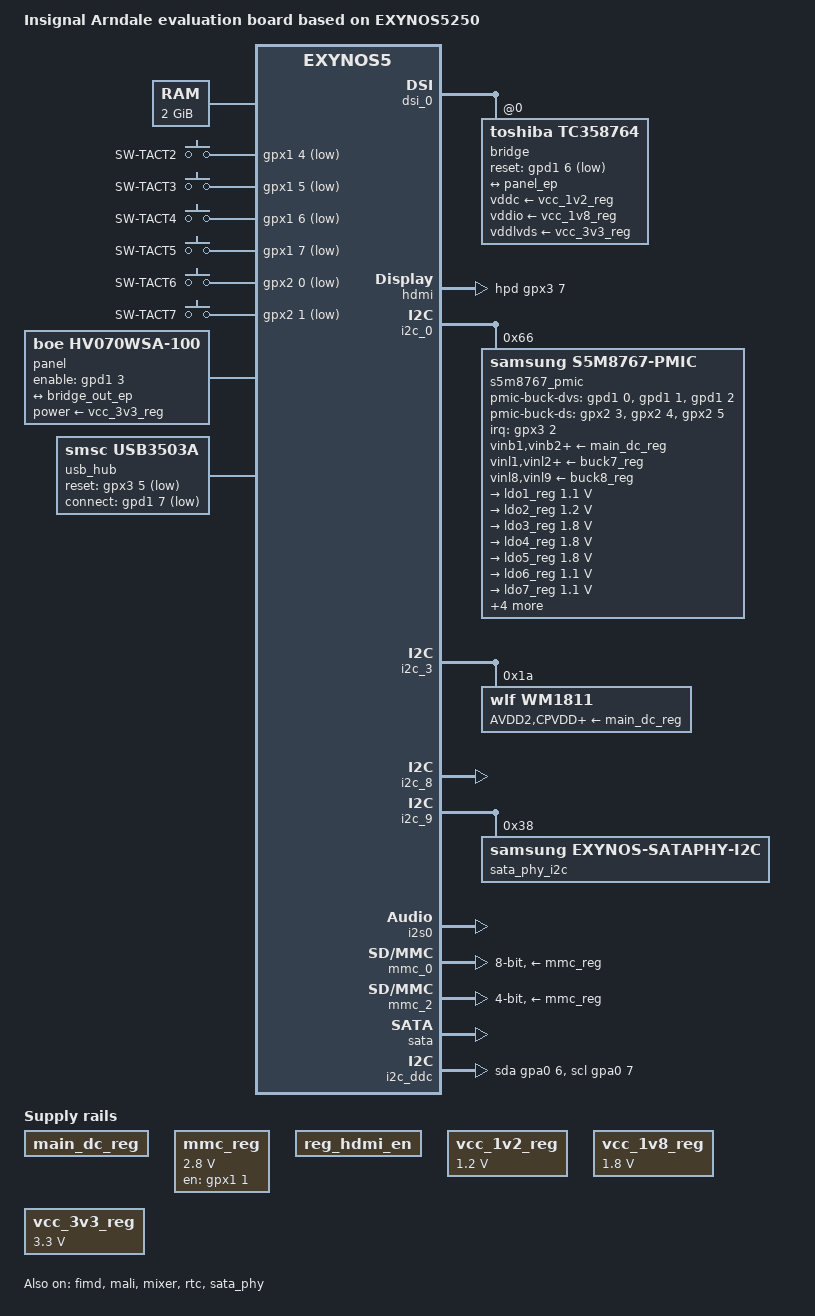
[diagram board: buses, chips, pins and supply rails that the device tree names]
// SPDX-License-Identifier: GPL-2.0
/*
 * Samsung's Exynos5250 based Arndale board device tree source
 *
 * Copyright (c) 2013 Samsung Electronics Co., Ltd.
 *		http://www.samsung.com
 */

/dts-v1/;
#include <dt-bindings/gpio/gpio.h>
#include <dt-bindings/interrupt-controller/irq.h>
#include <dt-bindings/input/input.h>
#include <dt-bindings/clock/samsung,s2mps11.h>
#include <dt-bindings/sound/samsung-i2s.h>
#include "exynos5250.dtsi"

/ {
	model = "Insignal Arndale evaluation board based on EXYNOS5250";
	compatible = "insignal,arndale", "samsung,exynos5250", "samsung,exynos5";

	memory@40000000 {
		device_type = "memory";
		reg = <0x40000000 0x80000000>;
	};

	chosen {
		stdout-path = "serial2:115200n8";
	};

	gpio_keys {
		compatible = "gpio-keys";

		menu {
			label = "SW-TACT2";
			gpios = <&gpx1 4 GPIO_ACTIVE_LOW>;
			linux,code = <KEY_MENU>;
			wakeup-source;
		};

		home {
			label = "SW-TACT3";
			gpios = <&gpx1 5 GPIO_ACTIVE_LOW>;
			linux,code = <KEY_HOME>;
			wakeup-source;
		};

		up {
			label = "SW-TACT4";
			gpios = <&gpx1 6 GPIO_ACTIVE_LOW>;
			linux,code = <KEY_UP>;
			wakeup-source;
		};

		down {
			label = "SW-TACT5";
			gpios = <&gpx1 7 GPIO_ACTIVE_LOW>;
			linux,code = <KEY_DOWN>;
			wakeup-source;
		};

		back {
			label = "SW-TACT6";
			gpios = <&gpx2 0 GPIO_ACTIVE_LOW>;
			linux,code = <KEY_BACK>;
			wakeup-source;
		};

		wakeup {
			label = "SW-TACT7";
			gpios = <&gpx2 1 GPIO_ACTIVE_LOW>;
			linux,code = <KEY_WAKEUP>;
			wakeup-source;
		};
	};

	panel: panel {
		compatible = "boe,hv070wsa-100";
		power-supply = <&vcc_3v3_reg>;
		enable-gpios = <&gpd1 3 GPIO_ACTIVE_HIGH>;
		port {
			panel_ep: endpoint {
				remote-endpoint = <&bridge_out_ep>;
			};
		};
	};

	regulators {
		compatible = "simple-bus";
		#address-cells = <1>;
		#size-cells = <0>;

		main_dc_reg: regulator@0 {
			compatible = "regulator-fixed";
			reg = <0>;
			regulator-name = "MAIN_DC";
		};

		mmc_reg: regulator@1 {
			compatible = "regulator-fixed";
			reg = <1>;
			regulator-name = "VDD_33ON_2.8V";
			regulator-min-microvolt = <2800000>;
			regulator-max-microvolt = <2800000>;
			gpio = <&gpx1 1 GPIO_ACTIVE_HIGH>;
			enable-active-high;
		};

		reg_hdmi_en: regulator@2 {
			compatible = "regulator-fixed";
			reg = <2>;
			regulator-name = "hdmi-en";
		};

		vcc_1v2_reg: regulator@3 {
			compatible = "regulator-fixed";
			reg = <3>;
			regulator-name = "VCC_1V2";
			regulator-min-microvolt = <1200000>;
			regulator-max-microvolt = <1200000>;
		};

		vcc_1v8_reg: regulator@4 {
			compatible = "regulator-fixed";
			reg = <4>;
			regulator-name = "VCC_1V8";
			regulator-min-microvolt = <1800000>;
			regulator-max-microvolt = <1800000>;
		};

		vcc_3v3_reg: regulator@5 {
			compatible = "regulator-fixed";
			reg = <5>;
			regulator-name = "VCC_3V3";
			regulator-min-microvolt = <3300000>;
			regulator-max-microvolt = <3300000>;
		};
	};

	sound {
		compatible = "samsung,arndale-wm1811";
		samsung,audio-cpu = <&i2s0>;
		samsung,audio-codec = <&wm1811>;
	};

	fixed-rate-clocks {
		xxti {
			compatible = "samsung,clock-xxti";
			clock-frequency = <24000000>;
		};
	};

	// SMSC USB3503 connected in hardware only mode as a PHY
	usb_hub: usb-hub {
		compatible = "smsc,usb3503a";

		reset-gpios = <&gpx3 5 GPIO_ACTIVE_LOW>;
		connect-gpios = <&gpd1 7 GPIO_ACTIVE_LOW>;
	};
};

&clock {
	assigned-clocks = <&clock CLK_FOUT_EPLL>;
	assigned-clock-rates = <49152000>;
};

&clock_audss {
	assigned-clocks = <&clock_audss EXYNOS_MOUT_AUDSS>;
	assigned-clock-parents = <&clock CLK_FOUT_EPLL>;
};

&cpu0 {
	cpu0-supply = <&buck2_reg>;
};

&dsi_0 {
	vddcore-supply = <&ldo8_reg>;
	vddio-supply = <&ldo10_reg>;
	samsung,pll-clock-frequency = <24000000>;
	samsung,burst-clock-frequency = <320000000>;
	samsung,esc-clock-frequency = <10000000>;
	status = "okay";

	bridge@0 {
		reg = <0>;
		compatible = "toshiba,tc358764";
		vddc-supply = <&vcc_1v2_reg>;
		vddio-supply = <&vcc_1v8_reg>;
		vddlvds-supply = <&vcc_3v3_reg>;
		reset-gpios = <&gpd1 6 GPIO_ACTIVE_LOW>;
		#address-cells = <1>;
		#size-cells = <0>;
		port@1 {
			reg = <1>;
			bridge_out_ep: endpoint {
				remote-endpoint = <&panel_ep>;
			};
		};
	};
};

&fimd {
	status = "okay";
};

&hdmi {
	pinctrl-names = "default";
	pinctrl-0 = <&hdmi_hpd>;
	status = "okay";
	ddc = <&i2c_ddc>;
	hpd-gpios = <&gpx3 7 GPIO_ACTIVE_HIGH>;
	vdd_osc-supply = <&ldo10_reg>;
	vdd_pll-supply = <&ldo8_reg>;
	vdd-supply = <&ldo8_reg>;
};

&i2c_0 {
	status = "okay";
	samsung,i2c-sda-delay = <100>;
	samsung,i2c-max-bus-freq = <20000>;
	samsung,i2c-slave-addr = <0x66>;

	s5m8767_pmic@66 {
		compatible = "samsung,s5m8767-pmic";
		reg = <0x66>;
		interrupt-parent = <&gpx3>;
		interrupts = <2 IRQ_TYPE_LEVEL_LOW>;
		pinctrl-names = "default";
		pinctrl-0 = <&s5m8767_irq>;

		vinb1-supply = <&main_dc_reg>;
		vinb2-supply = <&main_dc_reg>;
		vinb3-supply = <&main_dc_reg>;
		vinb4-supply = <&main_dc_reg>;
		vinb5-supply = <&main_dc_reg>;
		vinb6-supply = <&main_dc_reg>;
		vinb7-supply = <&main_dc_reg>;
		vinb8-supply = <&main_dc_reg>;
		vinb9-supply = <&main_dc_reg>;

		vinl1-supply = <&buck7_reg>;
		vinl2-supply = <&buck7_reg>;
		vinl3-supply = <&buck7_reg>;
		vinl4-supply = <&main_dc_reg>;
		vinl5-supply = <&main_dc_reg>;
		vinl6-supply = <&main_dc_reg>;
		vinl7-supply = <&main_dc_reg>;
		vinl8-supply = <&buck8_reg>;
		vinl9-supply = <&buck8_reg>;

		s5m8767,pmic-buck2-dvs-voltage = <1300000>;
		s5m8767,pmic-buck3-dvs-voltage = <1100000>;
		s5m8767,pmic-buck4-dvs-voltage = <1200000>;
		s5m8767,pmic-buck-dvs-gpios = <&gpd1 0 GPIO_ACTIVE_HIGH>,
		                              <&gpd1 1 GPIO_ACTIVE_HIGH>,
		                              <&gpd1 2 GPIO_ACTIVE_HIGH>;
		s5m8767,pmic-buck-ds-gpios = <&gpx2 3 GPIO_ACTIVE_HIGH>,
		                             <&gpx2 4 GPIO_ACTIVE_HIGH>,
		                             <&gpx2 5 GPIO_ACTIVE_HIGH>;

		s5m8767_osc: clocks {
			compatible = "samsung,s5m8767-clk";
			#clock-cells = <1>;
			clock-output-names = "s5m8767_ap", "unused1", "unused2";
		};

		regulators {
			ldo1_reg: LDO1 {
				regulator-name = "VDD_ALIVE_1.0V";
				regulator-min-microvolt = <1100000>;
				regulator-max-microvolt = <1100000>;
				regulator-always-on;
				regulator-boot-on;
				op_mode = <1>;
			};

			ldo2_reg: LDO2 {
				regulator-name = "VDD_28IO_DP_1.35V";
				regulator-min-microvolt = <1200000>;
				regulator-max-microvolt = <1200000>;
				regulator-always-on;
				regulator-boot-on;
				op_mode = <1>;
			};

			ldo3_reg: LDO3 {
				regulator-name = "VDD_COMMON1_1.8V";
				regulator-min-microvolt = <1800000>;
				regulator-max-microvolt = <1800000>;
				regulator-always-on;
				regulator-boot-on;
				op_mode = <1>;
			};

			ldo4_reg: LDO4 {
				regulator-name = "VDD_IOPERI_1.8V";
				regulator-min-microvolt = <1800000>;
				regulator-max-microvolt = <1800000>;
				regulator-always-on;
				op_mode = <1>;
			};

			ldo5_reg: LDO5 {
				regulator-name = "VDD_EXT_1.8V";
				regulator-min-microvolt = <1800000>;
				regulator-max-microvolt = <1800000>;
				regulator-always-on;
				regulator-boot-on;
				op_mode = <1>;
			};

			ldo6_reg: LDO6 {
				regulator-name = "VDD_MPLL_1.1V";
				regulator-min-microvolt = <1100000>;
				regulator-max-microvolt = <1100000>;
				regulator-always-on;
				regulator-boot-on;
				op_mode = <1>;
			};

			ldo7_reg: LDO7 {
				regulator-name = "VDD_XPLL_1.1V";
				regulator-min-microvolt = <1100000>;
				regulator-max-microvolt = <1100000>;
				regulator-always-on;
				regulator-boot-on;
				op_mode = <1>;
			};

			ldo8_reg: LDO8 {
				regulator-name = "VDD_COMMON2_1.0V";
				regulator-min-microvolt = <1000000>;
				regulator-max-microvolt = <1000000>;
				regulator-always-on;
				regulator-boot-on;
				op_mode = <1>;
			};

			ldo9_reg: LDO9 {
				regulator-name = "VDD_33ON_3.0V";
				regulator-min-microvolt = <3000000>;
				regulator-max-microvolt = <3000000>;
				op_mode = <1>;
			};

			ldo10_reg: LDO10 {
				regulator-name = "VDD_COMMON3_1.8V";
				regulator-min-microvolt = <1800000>;
				regulator-max-microvolt = <1800000>;
				regulator-always-on;
				regulator-boot-on;
				op_mode = <1>;
			};

			ldo11_reg: LDO11 {
				regulator-name = "VDD_ABB2_1.8V";
				regulator-min-microvolt = <1800000>;
				regulator-max-microvolt = <1800000>;
				regulator-always-on;
				regulator-boot-on;
				op_mode = <1>;
			};

			ldo12_reg: LDO12 {
				regulator-name = "VDD_USB_3.0V";
				regulator-min-microvolt = <3000000>;
				regulator-max-microvolt = <3000000>;
				regulator-always-on;
				regulator-boot-on;
				op_mode = <1>;
			};

			ldo13_reg: LDO13 {
				regulator-name = "VDDQ_C2C_W_1.8V";
				regulator-min-microvolt = <1800000>;
				regulator-max-microvolt = <1800000>;
				regulator-always-on;
				regulator-boot-on;
				op_mode = <1>;
			};

			ldo14_reg: LDO14 {
				regulator-name = "VDD18_ABB0_3_1.8V";
				regulator-min-microvolt = <1800000>;
				regulator-max-microvolt = <1800000>;
				regulator-always-on;
				regulator-boot-on;
				op_mode = <1>;
			};

			ldo15_reg: LDO15 {
				regulator-name = "VDD10_COMMON4_1.0V";
				regulator-min-microvolt = <1000000>;
				regulator-max-microvolt = <1000000>;
				regulator-always-on;
				regulator-boot-on;
				op_mode = <1>;
			};

			ldo16_reg: LDO16 {
				regulator-name = "VDD18_HSIC_1.8V";
				regulator-min-microvolt = <1800000>;
				regulator-max-microvolt = <1800000>;
				regulator-always-on;
				regulator-boot-on;
				op_mode = <1>;
			};

			ldo17_reg: LDO17 {
				regulator-name = "VDDQ_MMC2_3_2.8V";
				regulator-min-microvolt = <2800000>;
				regulator-max-microvolt = <2800000>;
				regulator-always-on;
				regulator-boot-on;
				op_mode = <1>;
			};

			ldo18_reg: LDO18 {
				regulator-name = "VDD_33ON_2.8V";
				regulator-min-microvolt = <2800000>;
				regulator-max-microvolt = <2800000>;
				op_mode = <1>;
			};

			ldo22_reg: LDO22 {
				regulator-name = "EXT_33_OFF";
				regulator-min-microvolt = <3300000>;
				regulator-max-microvolt = <3300000>;
				op_mode = <1>;
			};

			ldo23_reg: LDO23 {
				regulator-name = "EXT_28_OFF";
				regulator-min-microvolt = <2800000>;
				regulator-max-microvolt = <2800000>;
				op_mode = <1>;
			};

			ldo25_reg: LDO25 {
				regulator-name = "PVDD_LDO25";
				regulator-min-microvolt = <1200000>;
				regulator-max-microvolt = <1200000>;
				op_mode = <1>;
			};

			ldo26_reg: LDO26 {
				regulator-name = "EXT_18_OFF";
				regulator-min-microvolt = <1800000>;
				regulator-max-microvolt = <1800000>;
				op_mode = <1>;
			};

			buck1_reg: BUCK1 {
				regulator-name = "vdd_mif";
				regulator-min-microvolt = <950000>;
				regulator-max-microvolt = <1200000>;
				regulator-always-on;
				regulator-boot-on;
				op_mode = <1>;
			};

			buck2_reg: BUCK2 {
				regulator-name = "vdd_arm";
				regulator-min-microvolt = <912500>;
				regulator-max-microvolt = <1300000>;
				regulator-always-on;
				regulator-boot-on;
				op_mode = <1>;
			};

			buck3_reg: BUCK3 {
				regulator-name = "vdd_int";
				regulator-min-microvolt = <900000>;
				regulator-max-microvolt = <1200000>;
				regulator-always-on;
				regulator-boot-on;
				op_mode = <1>;
			};

			buck4_reg: BUCK4 {
				regulator-name = "vdd_g3d";
				regulator-min-microvolt = <850000>;
				regulator-max-microvolt = <1300000>;
				regulator-always-on;
				regulator-boot-on;
				op_mode = <1>;
			};

			buck5_reg: BUCK5 {
				regulator-name = "VDD_MEM_1.35V";
				regulator-min-microvolt = <750000>;
				regulator-max-microvolt = <1355000>;
				regulator-always-on;
				regulator-boot-on;
				op_mode = <1>;
			};

			buck7_reg: BUCK7 {
				regulator-name = "PVDD_BUCK7";
				regulator-always-on;
				op_mode = <1>;
			};

			buck8_reg: BUCK8 {
				regulator-name = "PVDD_BUCK8";
				regulator-always-on;
				op_mode = <1>;
			};

			buck9_reg: BUCK9 {
				regulator-name = "VDD_33_OFF_EXT1";
				regulator-min-microvolt = <750000>;
				regulator-max-microvolt = <3000000>;
				op_mode = <1>;
			};
		};
	};
};

&i2c_3 {
	status = "okay";

	wm1811: codec@1a {
		compatible = "wlf,wm1811";
		reg = <0x1a>;
		clocks = <&i2s0 CLK_I2S_CDCLK>;
		clock-names = "MCLK1";

		AVDD2-supply = <&main_dc_reg>;
		CPVDD-supply = <&main_dc_reg>;
		DBVDD1-supply = <&main_dc_reg>;
		DBVDD2-supply = <&main_dc_reg>;
		DBVDD3-supply = <&main_dc_reg>;
		LDO1VDD-supply = <&main_dc_reg>;
		SPKVDD1-supply = <&main_dc_reg>;
		SPKVDD2-supply = <&main_dc_reg>;

		wlf,ldo1ena = <&gpb0 0 GPIO_ACTIVE_HIGH>;
		wlf,ldo2ena = <&gpb0 1 GPIO_ACTIVE_HIGH>;
	};
};

&i2c_8 {
	status = "okay";
	/* used by HDMI PHY */
	samsung,i2c-sda-delay = <100>;
	samsung,i2c-max-bus-freq = <66000>;
};

&i2c_9 {
	status = "okay";
	samsung,i2c-sda-delay = <100>;
	samsung,i2c-max-bus-freq = <40000>;
	samsung,i2c-slave-addr = <0x38>;

	sata_phy_i2c:sata-phy@38 {
		compatible = "samsung,exynos-sataphy-i2c";
		reg = <0x38>;
	};
};

&i2s0 {
	assigned-clocks = <&i2s0 CLK_I2S_RCLK_SRC>;
	assigned-clock-parents = <&clock_audss EXYNOS_I2S_BUS>;
	status = "okay";
};

&i2s0_bus {
	samsung,pin-drv = <EXYNOS4_PIN_DRV_LV2>;
};

&mali {
	mali-supply = <&buck4_reg>;
	status = "okay";
};

&mixer {
	status = "okay";
};

&mmc_0 {
	status = "okay";
	broken-cd;
	card-detect-delay = <200>;
	samsung,dw-mshc-ciu-div = <3>;
	samsung,dw-mshc-sdr-timing = <2 3>;
	samsung,dw-mshc-ddr-timing = <1 2>;
	vmmc-supply = <&mmc_reg>;
	pinctrl-names = "default";
	pinctrl-0 = <&sd0_clk &sd0_cmd &sd0_bus4 &sd0_bus8>;
	bus-width = <8>;
	cap-mmc-highspeed;
};

&mmc_2 {
	status = "okay";
	card-detect-delay = <200>;
	samsung,dw-mshc-ciu-div = <3>;
	samsung,dw-mshc-sdr-timing = <2 3>;
	samsung,dw-mshc-ddr-timing = <1 2>;
	vmmc-supply = <&mmc_reg>;
	pinctrl-names = "default";
	pinctrl-0 = <&sd2_clk &sd2_cmd &sd2_cd &sd2_bus4>;
	bus-width = <4>;
	disable-wp;
	cap-sd-highspeed;
};

&pinctrl_0 {
	s5m8767_irq: s5m8767-irq {
		samsung,pins = "gpx3-2";
		samsung,pin-pud = <EXYNOS_PIN_PULL_NONE>;
	};
};

&rtc {
	clocks = <&clock CLK_RTC>, <&s5m8767_osc S2MPS11_CLK_AP>;
	clock-names = "rtc", "rtc_src";
	status = "okay";
};

&sata {
	status = "okay";
};

&sata_phy {
	status = "okay";
	samsung,exynos-sataphy-i2c-phandle = <&sata_phy_i2c>;
};

&soc {
	/*
	 * For unknown reasons HDMI-DDC does not work with Exynos I2C
	 * controllers. Lets use software I2C over GPIO pins as a workaround.
	 */
	i2c_ddc: i2c-gpio {
		pinctrl-names = "default";
		pinctrl-0 = <&i2c2_gpio_bus>;
		status = "okay";
		compatible = "i2c-gpio";
		gpios = <&gpa0 6 0 /* sda */
			 &gpa0 7 0 /* scl */
			>;
		i2c-gpio,delay-us = <2>;
		#address-cells = <1>;
		#size-cells = <0>;
	};
};
